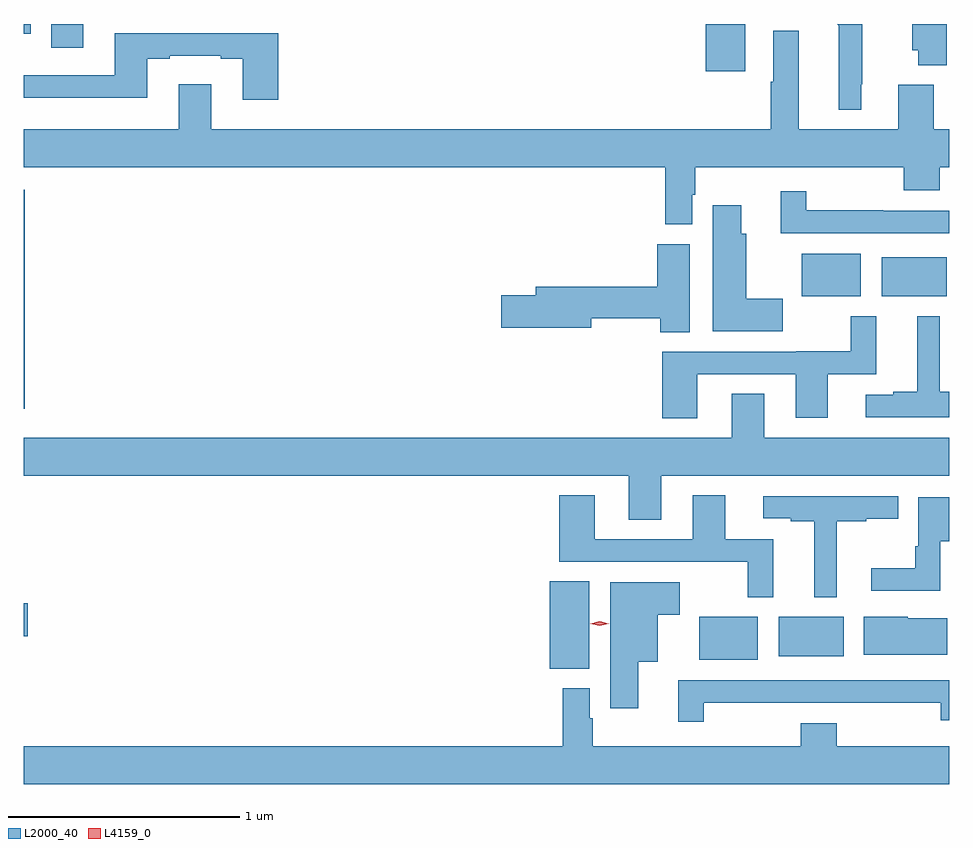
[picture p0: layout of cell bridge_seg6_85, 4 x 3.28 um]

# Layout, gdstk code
import gdstk
lib = gdstk.Library(unit=1e-6, precision=1e-09)
def R(c, l, rs):  # rectangles x0, y0, x1, y1
    for r in rs: c.add(gdstk.rectangle(r[:2], r[2:], *l))
def P(c, l, *ps):  # polygons
    for p in ps: c.add(gdstk.Polygon(p, *l))
L2000_40 = (2000, 40)
L4159_0 = (4159, 0)

bridge_seg6_85 = lib.new_cell('bridge_seg6_85')
R(bridge_seg6_85, L2000_40, [(724.541,957.158,724.711,957.536), (725.186,957.197,725.44,957.382), (725.531,957.212,725.812,957.382), (722.268,957.298,722.287,957.44), (722.268,958.281,722.273,959.227), (725.63,958.766,725.884,958.951), (725.975,958.766,726.256,958.936), (725.216,959.739,725.386,959.943), (722.387,959.841,722.527,959.943), (722.268,959.9,722.299,959.943)])
P(bridge_seg6_85, L2000_40, [(725.887,959.683),(725.891,959.683),(725.891,959.943),(725.783,959.943),(725.79,959.936),(725.79,959.834),(725.789,959.834),(725.789,959.573),(725.887,959.573)],
  [(726.256,959.943),(726.107,959.943),(726.107,959.829),(726.134,959.829),(726.134,959.765),(726.256,959.765)],
  [(725.157,959.205),(725.17,959.205),(725.17,959.324),(726.07,959.324),(726.07,959.225),(726.225,959.225),(726.225,959.324),(726.268,959.324),(726.268,959.488),(726.2,959.488),(726.2,959.68),(726.047,959.68),(726.047,959.488),(725.617,959.488),(725.617,959.914),(725.507,959.914),(725.507,959.693),(725.495,959.693),(725.495,959.488),(723.079,959.488),(723.079,959.683),(722.939,959.683),(722.939,959.488),(722.268,959.488),(722.268,959.324),(725.041,959.324),(725.041,959.077),(725.157,959.077)],
  [(723.368,959.902),(722.663,959.902),(722.663,959.721),(722.268,959.721),(722.268,959.624),(722.803,959.624),(722.803,959.793),(722.899,959.793),(722.899,959.805),(723.119,959.805),(723.119,959.793),(723.215,959.793),(723.215,959.616),(723.368,959.616)],
  [(726.268,959.136),(725.981,959.136),(725.981,959.138),(725.65,959.138),(725.65,959.221),(725.54,959.221),(725.54,959.04),(726.268,959.04)],
  [(725.547,958.756),(725.389,958.756),(725.389,959.037),(725.368,959.037),(725.368,959.161),(725.246,959.161),(725.246,958.616),(725.547,958.616)],
  [(725.146,958.992),(725.006,958.992),(725.006,958.808),(724.481,958.808),(724.481,958.772),(724.332,958.772),(724.332,958.63),(724.72,958.63),(724.72,958.672),(725.018,958.672),(725.018,958.612),(725.146,958.612)],
  [(726.268,958.354),(726.226,958.354),(726.226,958.681),(726.128,958.681),(726.128,958.354),(726.026,958.354),(726.026,958.341),(725.907,958.341),(725.907,958.245),(726.268,958.245)],
  [(725.179,958.431),(725.603,958.431),(725.603,958.242),(725.743,958.242),(725.743,958.431),(725.951,958.431),(725.951,958.681),(725.841,958.681),(725.841,958.53),(725.607,958.53),(725.607,958.527),(725.027,958.527),(725.027,958.241),(725.179,958.241)],
  [(725.023,957.992),(726.268,957.992),(726.268,958.156),(725.467,958.156),(725.467,958.346),(725.327,958.346),(725.327,958.156),(722.268,958.156),(722.268,957.992),(724.883,957.992),(724.883,957.802),(725.023,957.802)],
  [(725.507,957.717),(725.299,957.717),(725.299,957.907),(725.159,957.907),(725.159,957.717),(724.735,957.717),(724.735,957.907),(724.583,957.907),(724.583,957.621),(725.163,957.621),(725.163,957.619),(725.397,957.619),(725.397,957.467),(725.507,957.467)],
  [(725.782,957.795),(725.909,957.795),(725.909,957.806),(726.046,957.806),(726.046,957.903),(725.463,957.903),(725.463,957.807),(725.582,957.807),(725.582,957.795),(725.684,957.795),(725.684,957.467),(725.782,957.467)],
  [(726.228,957.708),(726.268,957.708),(726.268,957.898),(726.132,957.898),(726.132,957.688),(726.12,957.688),(726.12,957.593),(725.931,957.593),(725.931,957.495),(726.228,957.495)],
  [(724.924,957.188),(725.008,957.188),(725.008,957.392),(725.103,957.392),(725.103,957.532),(724.802,957.532),(724.802,956.988),(724.924,956.988)],
  [(726.152,957.219),(726.259,957.219),(726.259,957.376),(726.087,957.376),(726.087,957.382),(725.897,957.382),(725.897,957.218),(726.152,957.218)],
  [(725.206,957.011),(725.537,957.011),(725.537,957.012),(725.869,957.012),(725.869,957.011),(726.231,957.011),(726.231,956.936),(726.268,956.936),(726.268,957.108),(725.096,957.108),(725.096,956.928),(725.206,956.928)],
  [(726.268,956.824),(725.781,956.824),(725.781,956.923),(725.626,956.923),(725.626,956.824),(724.726,956.824),(724.726,956.943),(724.713,956.943),(724.713,957.073),(724.597,957.073),(724.597,956.824),(722.268,956.824),(722.268,956.66),(726.268,956.66)])
P(bridge_seg6_85, L4159_0, [(724.757,957.343),(724.717,957.353),(724.717,957.353),(724.717,957.353),(724.757,957.363),(724.796,957.353),(724.797,957.353),(724.796,957.353)])

lib.write_gds('bridge_seg6_85.gds')
